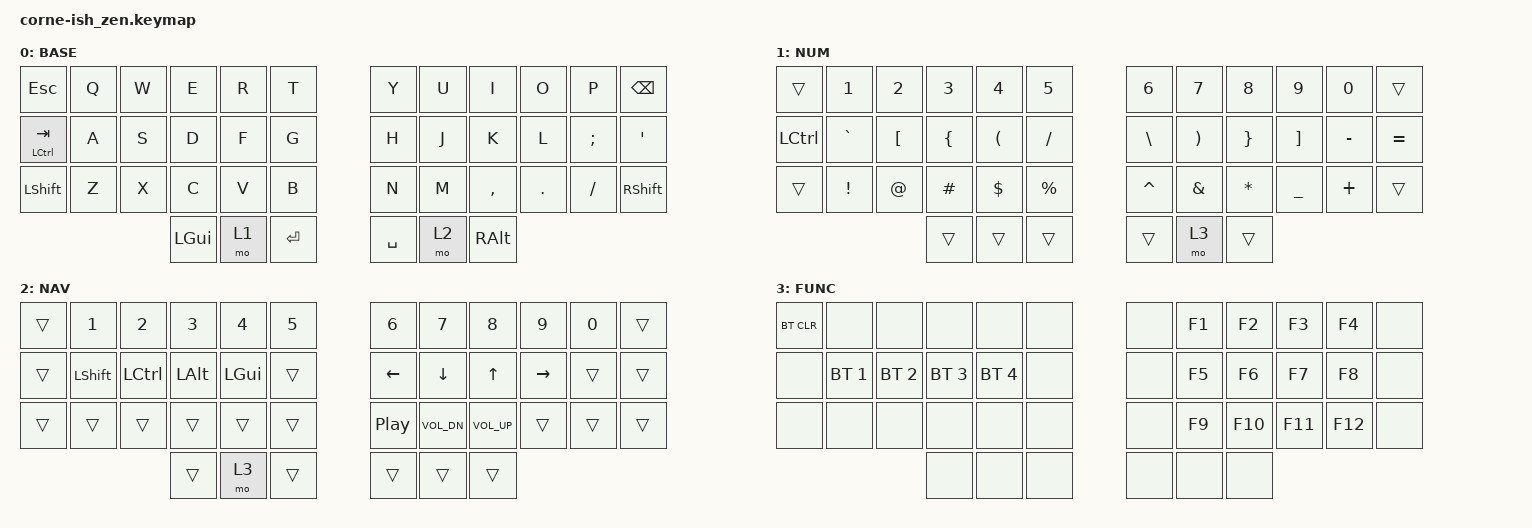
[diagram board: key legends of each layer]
#include <behaviors.dtsi>
#include <dt-bindings/zmk/keys.h>
#include <dt-bindings/zmk/bt.h>

/ {
        keymap {
                compatible = "zmk,keymap";

                default_layer {
                        label = "BASE";
                        bindings = <
    &kp ESC       &kp Q &kp W &kp E &kp R &kp T    &kp Y &kp U  &kp I     &kp O   &kp P    &kp BSPC
    &mt LCTRL TAB &kp A &kp S &kp D &kp F &kp G    &kp H &kp J  &kp K     &kp L   &kp SEMI &kp SQT
    &kp LSHFT     &kp Z &kp X &kp C &kp V &kp B    &kp N &kp M  &kp COMMA &kp DOT &kp FSLH &kp RSHIFT
                       &kp LGUI  &mo 1  &kp RET    &kp SPACE  &mo 2  &kp RALT
                        >;
                };

                lower_layer {
                        label = "NUM";
                        bindings = <
    &trans    &kp N1    &kp N2   &kp N3    &kp N4   &kp N5          &kp N6    &kp N7   &kp N8   &kp N9    &kp N0    &trans
    &kp LCTRL &kp GRAVE &kp LBKT &kp LBRC  &kp LPAR &kp FSLH        &kp BSLH  &kp RPAR &kp RBRC &kp RBKT  &kp MINUS &kp EQUAL
    &trans    &kp EXCL  &kp AT   &kp POUND &kp DLLR &kp PERCENT     &kp CARET &kp AMPS &kp STAR &kp UNDER &kp PLUS  &trans
                                           &trans &trans &trans     &trans &mo 3 &trans
                        >;
                };

                raise_layer {
                        label = "NAV";
                        bindings = <
    &trans &kp N1    &kp N2    &kp N3   &kp N4   &kp N5      &kp N6    &kp N7       &kp N8       &kp N9    &kp N0 &trans
    &trans &kp LSHFT &kp LCTRL &kp LALT &kp LGUI &trans      &kp LEFT  &kp DOWN     &kp UP       &kp RIGHT &trans &trans
    &trans &trans    &trans    &trans   &trans   &trans      &kp C_PP  &kp C_VOL_DN &kp C_VOL_UP &trans    &trans &trans
                                    &trans &mo 3 &trans      &trans &trans &trans
                        >;
                };

                function_layer {
                        label = "FUNC";
                        bindings = <
    &bt BT_CLR &none        &none        &none        &none        &none       &none &kp F1 &kp F2  &kp F3  &kp F4  &none
    &none      &bt BT_SEL 1 &bt BT_SEL 2 &bt BT_SEL 3 &bt BT_SEL 4 &none       &none &kp F5 &kp F6  &kp F7  &kp F8  &none
    &none      &none        &none        &none        &none        &none       &none &kp F9 &kp F10 &kp F11 &kp F12 &none
                                                       &none &none &none       &none &none &none
                        >;
                };
        };
};
